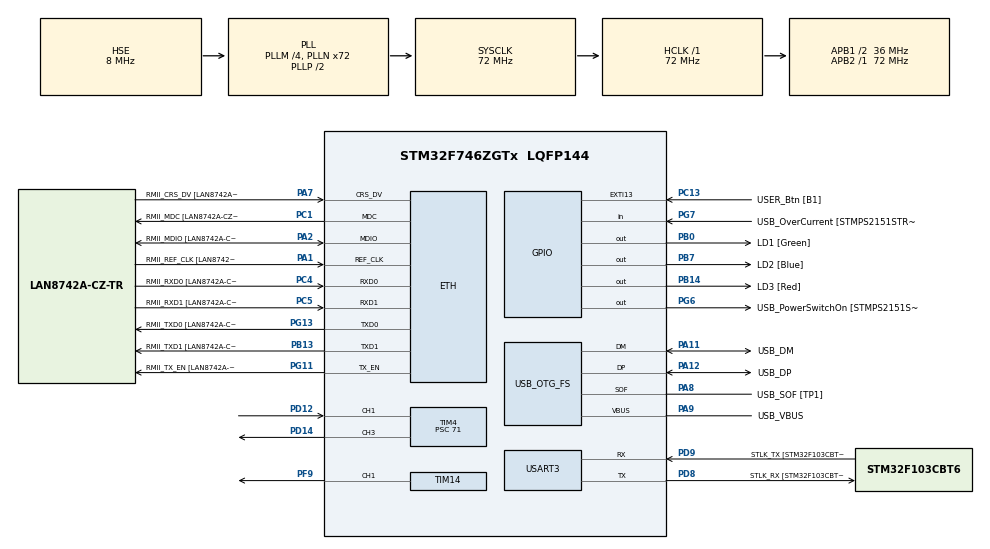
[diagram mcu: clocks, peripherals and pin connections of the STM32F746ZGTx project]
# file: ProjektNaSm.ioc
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ETH.MediaInterface=HAL_ETH_RMII_MODE
ETH.PHY_Name=LAN8742A_PHY_ADDRESS
ETH.PHY_Value=0
ETH.PhyAddress=0
Mcu.Family=STM32F7
Mcu.Name=STM32F746ZGTx
Mcu.Package=LQFP144
NVIC.PriorityGroup=NVIC_PRIORITYGROUP_4
NVIC.TIM4_IRQn=true\:0\:0\:false\:false\:true\:true\:true\:true
NVIC.TIM6_DAC_IRQn=true\:0\:0\:false\:false\:true\:true\:true\:true
NVIC.TIM7_IRQn=true\:0\:0\:false\:false\:true\:true\:true\:true
NVIC.TIM8_TRG_COM_TIM14_IRQn=true\:0\:0\:false\:false\:true\:true\:true\:true
NVIC.USART3_IRQn=true\:0\:0\:false\:false\:true\:true\:true\:true
PA1.GPIO_Label=RMII_REF_CLK [LAN8742A-CZ-TR_REFCLK0]
PA1.Mode=RMII
PA1.Signal=ETH_REF_CLK
PA10.GPIO_Label=USB_ID
PA10.Signal=USB_OTG_FS_ID
PA11.GPIO_Label=USB_DM
PA11.Mode=Device_Only
PA11.Signal=USB_OTG_FS_DM
PA12.GPIO_Label=USB_DP
PA12.Mode=Device_Only
PA12.Signal=USB_OTG_FS_DP
PA13.GPIO_Label=TMS
PA13.Mode=Serial_Wire
PA13.Signal=SYS_JTMS-SWDIO
PA14.GPIO_Label=TCK
PA14.Mode=Serial_Wire
PA14.Signal=SYS_JTCK-SWCLK
PA2.GPIO_Label=RMII_MDIO [LAN8742A-CZ-TR_MDIO]
PA2.Mode=RMII
PA2.Signal=ETH_MDIO
PA7.GPIO_Label=RMII_CRS_DV [LAN8742A-CZ-TR_CRS_DV]
PA7.Mode=RMII
PA7.Signal=ETH_CRS_DV
PA8.GPIO_Label=USB_SOF [TP1]
PA8.Mode=Activate_SOF_FS
PA8.Signal=USB_OTG_FS_SOF
PA9.GPIO_Label=USB_VBUS
PA9.Mode=Activate_VBUS
PA9.Signal=USB_OTG_FS_VBUS
PB0.GPIO_Label=LD1 [Green]
PB0.Signal=GPIO_Output
PB13.GPIO_Label=RMII_TXD1 [LAN8742A-CZ-TR_TXD1]
PB13.Mode=RMII
PB13.Signal=ETH_TXD1
PB14.GPIO_Label=LD3 [Red]
PB14.Signal=GPIO_Output
PB3.GPIO_Label=SW0
PB3.Signal=SYS_JTDO-SWO
PB7.GPIO_Label=LD2 [Blue]
PB7.Signal=GPIO_Output
PC1.GPIO_Label=RMII_MDC [LAN8742A-CZ-TR_MDC]
PC1.Mode=RMII
PC1.Signal=ETH_MDC
PC13.GPIO_Label=USER_Btn [B1]
PC13.Signal=GPXTI13
PC14/OSC32_IN.Mode=LSE-External-Oscillator
PC14/OSC32_IN.Signal=RCC_OSC32_IN
PC15/OSC32_OUT.Mode=LSE-External-Oscillator
PC15/OSC32_OUT.Signal=RCC_OSC32_OUT
PC4.GPIO_Label=RMII_RXD0 [LAN8742A-CZ-TR_RXD0]
PC4.Mode=RMII
PC4.Signal=ETH_RXD0
PC5.GPIO_Label=RMII_RXD1 [LAN8742A-CZ-TR_RXD1]
PC5.Mode=RMII
PC5.Signal=ETH_RXD1
PD12.Signal=S_TIM4_CH1
PD14.Signal=S_TIM4_CH3
PD8.GPIO_Label=STLK_RX [STM32F103CBT6_PA3]
PD8.GPIO_PuPd=GPIO_PULLUP
PD8.Mode=Asynchronous
PD8.Signal=USART3_TX
PD9.GPIO_Label=STLK_TX [STM32F103CBT6_PA2]
PD9.GPIO_PuPd=GPIO_PULLUP
PD9.Mode=Asynchronous
PD9.Signal=USART3_RX
PF9.Signal=S_TIM14_CH1
PG11.GPIO_Label=RMII_TX_EN [LAN8742A-CZ-TR_TXEN]
PG11.Mode=RMII
PG11.Signal=ETH_TX_EN
PG13.GPIO_Label=RMII_TXD0 [LAN8742A-CZ-TR_TXD0]
PG13.Mode=RMII
PG13.Signal=ETH_TXD0
PG6.GPIO_Label=USB_PowerSwitchOn [STMPS2151STR_EN]
PG6.Signal=GPIO_Output
PG7.GPIO_Label=USB_OverCurrent [STMPS2151STR_FAULT]
PG7.Signal=GPIO_Input
PH0/OSC_IN.GPIO_Label=MCO [STM32F103CBT6_PA8]
PH0/OSC_IN.Mode=HSE-External-Clock-Source
PH0/OSC_IN.Signal=RCC_OSC_IN
PH1/OSC_OUT.Mode=HSE-External-Clock-Source
PH1/OSC_OUT.Signal=RCC_OSC_OUT
ProjectManager.HeapSize=0x200
ProjectManager.StackSize=0x400
ProjectManager.TargetToolchain=STM32CubeIDE
RCC.48MHZClocksFreq_Value=24000000
RCC.AHBFreq_Value=72000000
RCC.APB1CLKDivider=RCC_HCLK_DIV2
RCC.APB1Freq_Value=36000000
RCC.APB1TimFreq_Value=72000000
RCC.APB2Freq_Value=72000000
RCC.APB2TimFreq_Value=72000000
RCC.CortexFreq_Value=72000000
RCC.HCLKFreq_Value=72000000
RCC.HSE_VALUE=8000000
RCC.HSI_VALUE=16000000
RCC.PLLM=4
RCC.PLLMUL=RCC_PLL_MUL9
RCC.PLLN=72
RCC.PLLQ=3
RCC.PRESCALERUSB=RCC_USBCLKSOURCE_PLL_DIV1_5
RCC.SYSCLKFreq_VALUE=72000000
RCC.SYSCLKSource=RCC_SYSCLKSOURCE_PLLCLK
RCC.SYSCLKSourceVirtual=RCC_SYSCLKSOURCE_PLLCLK
RCC.USBFreq_Value=48000000
RCC.VCOOutputFreq_Value=144000000
SH.S_TIM14_CH1.0=TIM14_CH1,PWM Generation1 CH1
SH.S_TIM4_CH1.0=TIM4_CH1,Input_Capture1_from_TI1
SH.S_TIM4_CH3.0=TIM4_CH3,PWM Generation3 CH3
TIM14.AutoReloadPreload=TIM_AUTORELOAD_PRELOAD_ENABLE
TIM14.Channel=TIM_CHANNEL_1
TIM14.Period=19999
TIM14.Prescaler=71
TIM4.Channel-Input_Capture1_from_TI1=TIM_CHANNEL_1
TIM4.Channel-Input_Capture2_from_TI1_63=TIM_CHANNEL_2
TIM4.Channel-PWM\ Generation3\ CH3=TIM_CHANNEL_3
TIM4.ICPolarity_CH1=TIM_INPUTCHANNELPOLARITY_RISING
TIM4.ICPolarity_CH2=TIM_INPUTCHANNELPOLARITY_FALLING
TIM4.Period=63999
TIM4.Prescaler=71
TIM4.Pulse-PWM\ Generation3\ CH3=4
TIM6.Period=999
TIM6.Prescaler=71
TIM7.Period=59999
TIM7.Prescaler=119
USART3.VirtualMode-Asynchronous=VM_ASYNC
USB_OTG_FS.VirtualMode=Device_Only
VP_TIM14_VS_ClockSourceINT.Mode=Enable_Timer
VP_TIM4_VS_ClockSourceINT.Mode=Internal
VP_TIM4_VS_indirect_ch1.Mode=Input_Capture2_from_TI1_63
VP_TIM6_VS_ClockSourceINT.Mode=Enable_Timer
VP_TIM7_VS_ClockSourceINT.Mode=Enable_Timer
board=NUCLEO-F746ZG

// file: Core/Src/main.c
/* USER CODE BEGIN Header */
/**
  ******************************************************************************
  * @file           : main.c
  * @brief          : Main program body
  ******************************************************************************
  * @attention
  *
  * Copyright (c) 2023 STMicroelectronics.
  * All rights reserved.
  *
  * This software is licensed under terms that can be found in the LICENSE file
  * in the root directory of this software component.
  * If no LICENSE file comes with this software, it is provided AS-IS.
  *
  ******************************************************************************
  */
/* USER CODE END Header */
#include "main.h"
#include "string.h"

#if defined ( __ICCARM__ ) /*!< IAR Compiler */
#pragma location=0x2004c000
ETH_DMADescTypeDef  DMARxDscrTab[ETH_RX_DESC_CNT]; /* Ethernet Rx DMA Descriptors */
#pragma location=0x2004c0a0
ETH_DMADescTypeDef  DMATxDscrTab[ETH_TX_DESC_CNT]; /* Ethernet Tx DMA Descriptors */

#elif defined ( __CC_ARM )  /* MDK ARM Compiler */

__attribute__((at(0x2004c000))) ETH_DMADescTypeDef  DMARxDscrTab[ETH_RX_DESC_CNT]; /* Ethernet Rx DMA Descriptors */
__attribute__((at(0x2004c0a0))) ETH_DMADescTypeDef  DMATxDscrTab[ETH_TX_DESC_CNT]; /* Ethernet Tx DMA Descriptors */

#elif defined ( __GNUC__ ) /* GNU Compiler */
ETH_DMADescTypeDef DMARxDscrTab[ETH_RX_DESC_CNT] __attribute__((section(".RxDecripSection"))); /* Ethernet Rx DMA Descriptors */
ETH_DMADescTypeDef DMATxDscrTab[ETH_TX_DESC_CNT] __attribute__((section(".TxDecripSection")));   /* Ethernet Tx DMA Descriptors */

#endif

ETH_TxPacketConfig TxConfig;

ETH_HandleTypeDef heth;

TIM_HandleTypeDef htim4;
TIM_HandleTypeDef htim6;
TIM_HandleTypeDef htim7;
TIM_HandleTypeDef htim14;

UART_HandleTypeDef huart3;

PCD_HandleTypeDef hpcd_USB_OTG_FS;

void SystemClock_Config(void);
static void MX_GPIO_Init(void);
static void MX_ETH_Init(void);
static void MX_USART3_UART_Init(void);
static void MX_USB_OTG_FS_PCD_Init(void);
static void MX_TIM4_Init(void);
static void MX_TIM14_Init(void);
static void MX_TIM6_Init(void);
static void MX_TIM7_Init(void);
/* USER CODE BEGIN PFP */
float pidprocces;
float nowaw;

//czujnik/////////////////////
float value=0;

float czujnik()
{
	uint32_t start = HAL_TIM_ReadCapturedValue(&htim4, TIM_CHANNEL_1);
	uint32_t stop = HAL_TIM_ReadCapturedValue(&htim4, TIM_CHANNEL_2);
    uint32_t newValue = (stop - start) / 58.0f;
    value = newValue;
    return newValue;

}

//Redulator PID/////////////////////////////////

float Kp = 38;  // Wzmocnienie proporcjonalne
float Ki = 0.0001;  // Wzmocnienie całkujące
float Kd = 1.6;   // Wzmocnienie różniczkujące
float Setpoint = 25;

float error = 0;       // Bieżący błąd
float prevError = 0;   // Poprzedni błąd
float integral = 0;    // Skumulowana wartość błędu
float derivative = 0;  // Wartość pochodnej błędu

float lastTime=2;
float czas=1;

float pidController(float setpoint, float processVariable) {
	error = setpoint - processVariable;
    integral += error;
    derivative = (error - prevError);

    float output = (Kp * error) + (Ki * integral) + (Kd * derivative);
    prevError = error;

    return output;
}

//Obsluga serwomechanizmu////////////////////////////////

#define MIN_PULSE_WIDTH 600   // Minimalna szerokość impulsu
#define MAX_PULSE_WIDTH 1800  // Maksymalna szerokość impulsu

void setServoPWMFromPID(float pidOutput)
{
    float scaledOutput =1200- (pidOutput);

    if (scaledOutput < MIN_PULSE_WIDTH)
    {
        scaledOutput = MIN_PULSE_WIDTH;
    }
    else if (scaledOutput > MAX_PULSE_WIDTH)
    {
        scaledOutput = MAX_PULSE_WIDTH;
    }

    __HAL_TIM_SET_COMPARE(&htim14, TIM_CHANNEL_1, (uint16_t)scaledOutput);
}

void SendDataOverUART(float value, float pidOutput) {
    char buffer[100];
    sprintf(buffer, "Sensor: %.2f, Kp: %.2f, Ki: %.2f, Kd: %.2f, PID: %.2f\r\n", value, Kp, Ki, Kd, pidprocces);
    HAL_UART_Transmit(&huart3, (uint8_t*)buffer, strlen(buffer), 100);
}

#define RX_BUFFER_SIZE 50

char rxBuffer[RX_BUFFER_SIZE];
uint32_t rxIndex = 0;

void ProcessReceivedData(const char* data);

void HAL_UART_RxCpltCallback(UART_HandleTypeDef *huart) {
    if (huart == &huart3) {
        char receivedChar = (char)(huart->Instance->RDR & 0xFF);

        if (receivedChar == '\n' || rxIndex >= RX_BUFFER_SIZE - 1) {
            rxBuffer[rxIndex] = '\0';
            ProcessReceivedData(rxBuffer);

            memset(rxBuffer, 0, RX_BUFFER_SIZE);
            rxIndex = 0;
        } else if (receivedChar == '\n')
		{
        	rxIndex = 0;
		}
        else
        {
            rxBuffer[rxIndex++] = receivedChar;
        }

        HAL_UART_Receive_IT(&huart3, (uint8_t *)&rxBuffer[rxIndex], 1);
    }
}

// Funkcja przetwarzająca odebrane dane

void ProcessReceivedData(const char* data) {

    float tempKp, tempKi, tempKd, tempSetpoint;

    if (sscanf(data, "Set Kp:%f Ki:%f Kd:%f Setpoint:%f", &tempKp, &tempKi, &tempKd, &tempSetpoint) == 4) {
        Kp = tempKp;
        Ki = tempKi;
        Kd = tempKd;
        Setpoint = tempSetpoint;
    }
}

void HAL_TIM_PeriodElapsedCallback(TIM_HandleTypeDef *htim)
{
    if (htim->Instance == TIM6)
    {
  	  nowaw=czujnik();
  	  pidprocces=pidController(Setpoint, nowaw);
  	  setServoPWMFromPID(pidprocces);

    }
    if (htim->Instance == TIM7)
    {
    	SendDataOverUART(nowaw, pidprocces);
    }
}

/* USER CODE END PFP */

int main(void)
{

  /* MCU Configuration--------------------------------------------------------*/

  /* Reset of all peripherals, Initializes the Flash interface and the Systick. */
  HAL_Init();

  /* Configure the system clock */
  SystemClock_Config();

  /* Initialize all configured peripherals */
  MX_GPIO_Init();
  MX_ETH_Init();
  MX_USART3_UART_Init();
  MX_USB_OTG_FS_PCD_Init();
  MX_TIM4_Init();
  MX_TIM14_Init();
  MX_TIM6_Init();
  MX_TIM7_Init();
  /* USER CODE BEGIN 2 */
  HAL_TIM_Base_Start_IT(&htim4);

  HAL_TIM_IC_Start(&htim4, TIM_CHANNEL_1);
  HAL_TIM_IC_Start(&htim4, TIM_CHANNEL_2);
  HAL_TIM_PWM_Start(&htim4, TIM_CHANNEL_3);
  HAL_TIM_PWM_Start(&htim14, TIM_CHANNEL_1);
  nowaw=czujnik();
  pidprocces=pidController(Setpoint, nowaw);
  setServoPWMFromPID(pidprocces);
  HAL_TIM_Base_Start_IT(&htim6);
  HAL_TIM_Base_Start_IT(&htim7);
  HAL_UART_Receive_IT(&huart3, (uint8_t*)&rxBuffer, 1);

  /* USER CODE END 2 */

  /* Infinite loop */
  while (1)
  {

  }
}

void SystemClock_Config(void)
{
  RCC_OscInitTypeDef RCC_OscInitStruct = {0};
  RCC_ClkInitTypeDef RCC_ClkInitStruct = {0};

  /** Configure LSE Drive Capability
  */
  HAL_PWR_EnableBkUpAccess();

  /** Configure the main internal regulator output voltage
  */
  __HAL_RCC_PWR_CLK_ENABLE();
  __HAL_PWR_VOLTAGESCALING_CONFIG(PWR_REGULATOR_VOLTAGE_SCALE3);

  /** Initializes the RCC Oscillators according to the specified parameters
  * in the RCC_OscInitTypeDef structure.
  */
  RCC_OscInitStruct.OscillatorType = RCC_OSCILLATORTYPE_HSE;
  RCC_OscInitStruct.HSEState = RCC_HSE_BYPASS;
  RCC_OscInitStruct.PLL.PLLState = RCC_PLL_ON;
  RCC_OscInitStruct.PLL.PLLSource = RCC_PLLSOURCE_HSE;
  RCC_OscInitStruct.PLL.PLLM = 4;
  RCC_OscInitStruct.PLL.PLLN = 72;
  RCC_OscInitStruct.PLL.PLLP = RCC_PLLP_DIV2;
  RCC_OscInitStruct.PLL.PLLQ = 3;
  if (HAL_RCC_OscConfig(&RCC_OscInitStruct) != HAL_OK)
  {
    Error_Handler();
  }

  /** Initializes the CPU, AHB and APB buses clocks
  */
  RCC_ClkInitStruct.ClockType = RCC_CLOCKTYPE_HCLK|RCC_CLOCKTYPE_SYSCLK
                              |RCC_CLOCKTYPE_PCLK1|RCC_CLOCKTYPE_PCLK2;
  RCC_ClkInitStruct.SYSCLKSource = RCC_SYSCLKSOURCE_PLLCLK;
  RCC_ClkInitStruct.AHBCLKDivider = RCC_SYSCLK_DIV1;
  RCC_ClkInitStruct.APB1CLKDivider = RCC_HCLK_DIV2;
  RCC_ClkInitStruct.APB2CLKDivider = RCC_HCLK_DIV1;

  if (HAL_RCC_ClockConfig(&RCC_ClkInitStruct, FLASH_LATENCY_2) != HAL_OK)
  {
    Error_Handler();
  }
}

static void MX_ETH_Init(void)
{

   static uint8_t MACAddr[6];

  heth.Instance = ETH;
  MACAddr[0] = 0x00;
  MACAddr[1] = 0x80;
  MACAddr[2] = 0xE1;
  MACAddr[3] = 0x00;
  MACAddr[4] = 0x00;
  MACAddr[5] = 0x00;
  heth.Init.MACAddr = &MACAddr[0];
  heth.Init.MediaInterface = HAL_ETH_RMII_MODE;
  heth.Init.TxDesc = DMATxDscrTab;
  heth.Init.RxDesc = DMARxDscrTab;
  heth.Init.RxBuffLen = 1524;

  if (HAL_ETH_Init(&heth) != HAL_OK)
  {
    Error_Handler();
  }

  memset(&TxConfig, 0 , sizeof(ETH_TxPacketConfig));
  TxConfig.Attributes = ETH_TX_PACKETS_FEATURES_CSUM | ETH_TX_PACKETS_FEATURES_CRCPAD;
  TxConfig.ChecksumCtrl = ETH_CHECKSUM_IPHDR_PAYLOAD_INSERT_PHDR_CALC;
  TxConfig.CRCPadCtrl = ETH_CRC_PAD_INSERT;

}

static void MX_TIM4_Init(void)
{

  TIM_ClockConfigTypeDef sClockSourceConfig = {0};
  TIM_MasterConfigTypeDef sMasterConfig = {0};
  TIM_IC_InitTypeDef sConfigIC = {0};
  TIM_OC_InitTypeDef sConfigOC = {0};

  htim4.Instance = TIM4;
  htim4.Init.Prescaler = 71;
  htim4.Init.CounterMode = TIM_COUNTERMODE_UP;
  htim4.Init.Period = 63999;
  htim4.Init.ClockDivision = TIM_CLOCKDIVISION_DIV1;
  htim4.Init.AutoReloadPreload = TIM_AUTORELOAD_PRELOAD_DISABLE;
  if (HAL_TIM_Base_Init(&htim4) != HAL_OK)
  {
    Error_Handler();
  }
  sClockSourceConfig.ClockSource = TIM_CLOCKSOURCE_INTERNAL;
  if (HAL_TIM_ConfigClockSource(&htim4, &sClockSourceConfig) != HAL_OK)
  {
    Error_Handler();
  }
  if (HAL_TIM_IC_Init(&htim4) != HAL_OK)
  {
    Error_Handler();
  }
  if (HAL_TIM_PWM_Init(&htim4) != HAL_OK)
  {
    Error_Handler();
  }
  sMasterConfig.MasterOutputTrigger = TIM_TRGO_RESET;
  sMasterConfig.MasterSlaveMode = TIM_MASTERSLAVEMODE_DISABLE;
  if (HAL_TIMEx_MasterConfigSynchronization(&htim4, &sMasterConfig) != HAL_OK)
  {
    Error_Handler();
  }
  sConfigIC.ICPolarity = TIM_INPUTCHANNELPOLARITY_RISING;
  sConfigIC.ICSelection = TIM_ICSELECTION_DIRECTTI;
  sConfigIC.ICPrescaler = TIM_ICPSC_DIV1;
  sConfigIC.ICFilter = 0;
  if (HAL_TIM_IC_ConfigChannel(&htim4, &sConfigIC, TIM_CHANNEL_1) != HAL_OK)
  {
    Error_Handler();
  }
  sConfigIC.ICPolarity = TIM_INPUTCHANNELPOLARITY_FALLING;
  sConfigIC.ICSelection = TIM_ICSELECTION_INDIRECTTI;
  if (HAL_TIM_IC_ConfigChannel(&htim4, &sConfigIC, TIM_CHANNEL_2) != HAL_OK)
  {
    Error_Handler();
  }
  sConfigOC.OCMode = TIM_OCMODE_PWM1;
  sConfigOC.Pulse = 4;
  sConfigOC.OCPolarity = TIM_OCPOLARITY_HIGH;
  sConfigOC.OCFastMode = TIM_OCFAST_DISABLE;
  if (HAL_TIM_PWM_ConfigChannel(&htim4, &sConfigOC, TIM_CHANNEL_3) != HAL_OK)
  {
    Error_Handler();
  }
  HAL_TIM_MspPostInit(&htim4);

}

static void MX_TIM6_Init(void)
{

  TIM_MasterConfigTypeDef sMasterConfig = {0};

  htim6.Instance = TIM6;
  htim6.Init.Prescaler = 71;
  htim6.Init.CounterMode = TIM_COUNTERMODE_UP;
  htim6.Init.Period = 999;
  htim6.Init.AutoReloadPreload = TIM_AUTORELOAD_PRELOAD_DISABLE;
  if (HAL_TIM_Base_Init(&htim6) != HAL_OK)
  {
    Error_Handler();
  }
  sMasterConfig.MasterOutputTrigger = TIM_TRGO_RESET;
  sMasterConfig.MasterSlaveMode = TIM_MASTERSLAVEMODE_DISABLE;
  if (HAL_TIMEx_MasterConfigSynchronization(&htim6, &sMasterConfig) != HAL_OK)
  {
    Error_Handler();
  }

}

static void MX_TIM7_Init(void)
{

  TIM_MasterConfigTypeDef sMasterConfig = {0};

  htim7.Instance = TIM7;
  htim7.Init.Prescaler = 119;
  htim7.Init.CounterMode = TIM_COUNTERMODE_UP;
  htim7.Init.Period = 59999;
  htim7.Init.AutoReloadPreload = TIM_AUTORELOAD_PRELOAD_DISABLE;
  if (HAL_TIM_Base_Init(&htim7) != HAL_OK)
  {
    Error_Handler();
  }
  sMasterConfig.MasterOutputTrigger = TIM_TRGO_RESET;
  sMasterConfig.MasterSlaveMode = TIM_MASTERSLAVEMODE_DISABLE;
  if (HAL_TIMEx_MasterConfigSynchronization(&htim7, &sMasterConfig) != HAL_OK)
  {
    Error_Handler();
  }

}

static void MX_TIM14_Init(void)
{

  TIM_OC_InitTypeDef sConfigOC = {0};

  htim14.Instance = TIM14;
  htim14.Init.Prescaler = 71;
  htim14.Init.CounterMode = TIM_COUNTERMODE_UP;
  htim14.Init.Period = 19999;
  htim14.Init.ClockDivision = TIM_CLOCKDIVISION_DIV1;
  htim14.Init.AutoReloadPreload = TIM_AUTORELOAD_PRELOAD_ENABLE;
  if (HAL_TIM_Base_Init(&htim14) != HAL_OK)
  {
    Error_Handler();
  }
  if (HAL_TIM_PWM_Init(&htim14) != HAL_OK)
  {
    Error_Handler();
  }
  sConfigOC.OCMode = TIM_OCMODE_PWM1;
  sConfigOC.Pulse = 0;
  sConfigOC.OCPolarity = TIM_OCPOLARITY_HIGH;
  sConfigOC.OCFastMode = TIM_OCFAST_DISABLE;
  if (HAL_TIM_PWM_ConfigChannel(&htim14, &sConfigOC, TIM_CHANNEL_1) != HAL_OK)
  {
    Error_Handler();
  }
  HAL_TIM_MspPostInit(&htim14);

}

static void MX_USART3_UART_Init(void)
{

  huart3.Instance = USART3;
  huart3.Init.BaudRate = 115200;
  huart3.Init.WordLength = UART_WORDLENGTH_8B;
  huart3.Init.StopBits = UART_STOPBITS_1;
  huart3.Init.Parity = UART_PARITY_NONE;
  huart3.Init.Mode = UART_MODE_TX_RX;
  huart3.Init.HwFlowCtl = UART_HWCONTROL_NONE;
  huart3.Init.OverSampling = UART_OVERSAMPLING_16;
  huart3.Init.OneBitSampling = UART_ONE_BIT_SAMPLE_DISABLE;
  huart3.AdvancedInit.AdvFeatureInit = UART_ADVFEATURE_NO_INIT;
  if (HAL_UART_Init(&huart3) != HAL_OK)
  {
    Error_Handler();
  }

}

static void MX_USB_OTG_FS_PCD_Init(void)
{

  hpcd_USB_OTG_FS.Instance = USB_OTG_FS;
  hpcd_USB_OTG_FS.Init.dev_endpoints = 6;
  hpcd_USB_OTG_FS.Init.speed = PCD_SPEED_FULL;
  hpcd_USB_OTG_FS.Init.dma_enable = DISABLE;
  hpcd_USB_OTG_FS.Init.phy_itface = PCD_PHY_EMBEDDED;
  hpcd_USB_OTG_FS.Init.Sof_enable = ENABLE;
  hpcd_USB_OTG_FS.Init.low_power_enable = DISABLE;
  hpcd_USB_OTG_FS.Init.lpm_enable = DISABLE;
  hpcd_USB_OTG_FS.Init.vbus_sensing_enable = ENABLE;
  hpcd_USB_OTG_FS.Init.use_dedicated_ep1 = DISABLE;
  if (HAL_PCD_Init(&hpcd_USB_OTG_FS) != HAL_OK)
  {
    Error_Handler();
  }

}

static void MX_GPIO_Init(void)
{
  GPIO_InitTypeDef GPIO_InitStruct = {0};

  /* GPIO Ports Clock Enable */
  __HAL_RCC_GPIOC_CLK_ENABLE();
  __HAL_RCC_GPIOF_CLK_ENABLE();
  __HAL_RCC_GPIOH_CLK_ENABLE();
  __HAL_RCC_GPIOA_CLK_ENABLE();
  __HAL_RCC_GPIOB_CLK_ENABLE();
  __HAL_RCC_GPIOD_CLK_ENABLE();
  __HAL_RCC_GPIOG_CLK_ENABLE();

  /*Configure GPIO pin Output Level */
  HAL_GPIO_WritePin(GPIOB, LD1_Pin|LD3_Pin|LD2_Pin, GPIO_PIN_RESET);

  /*Configure GPIO pin Output Level */
  HAL_GPIO_WritePin(USB_PowerSwitchOn_GPIO_Port, USB_PowerSwitchOn_Pin, GPIO_PIN_RESET);

  /*Configure GPIO pin : USER_Btn_Pin */
  GPIO_InitStruct.Pin = USER_Btn_Pin;
  GPIO_InitStruct.Mode = GPIO_MODE_IT_RISING;
  GPIO_InitStruct.Pull = GPIO_NOPULL;
  HAL_GPIO_Init(USER_Btn_GPIO_Port, &GPIO_InitStruct);

  /*Configure GPIO pins : LD1_Pin LD3_Pin LD2_Pin */
  GPIO_InitStruct.Pin = LD1_Pin|LD3_Pin|LD2_Pin;
  GPIO_InitStruct.Mode = GPIO_MODE_OUTPUT_PP;
  GPIO_InitStruct.Pull = GPIO_NOPULL;
  GPIO_InitStruct.Speed = GPIO_SPEED_FREQ_LOW;
  HAL_GPIO_Init(GPIOB, &GPIO_InitStruct);

  /*Configure GPIO pin : USB_PowerSwitchOn_Pin */
  GPIO_InitStruct.Pin = USB_PowerSwitchOn_Pin;
  GPIO_InitStruct.Mode = GPIO_MODE_OUTPUT_PP;
  GPIO_InitStruct.Pull = GPIO_NOPULL;
  GPIO_InitStruct.Speed = GPIO_SPEED_FREQ_LOW;
  HAL_GPIO_Init(USB_PowerSwitchOn_GPIO_Port, &GPIO_InitStruct);

  /*Configure GPIO pin : USB_OverCurrent_Pin */
  GPIO_InitStruct.Pin = USB_OverCurrent_Pin;
  GPIO_InitStruct.Mode = GPIO_MODE_INPUT;
  GPIO_InitStruct.Pull = GPIO_NOPULL;
  HAL_GPIO_Init(USB_OverCurrent_GPIO_Port, &GPIO_InitStruct);

}

void Error_Handler(void)
{
  __disable_irq();
  while (1)
  {
  }
}
